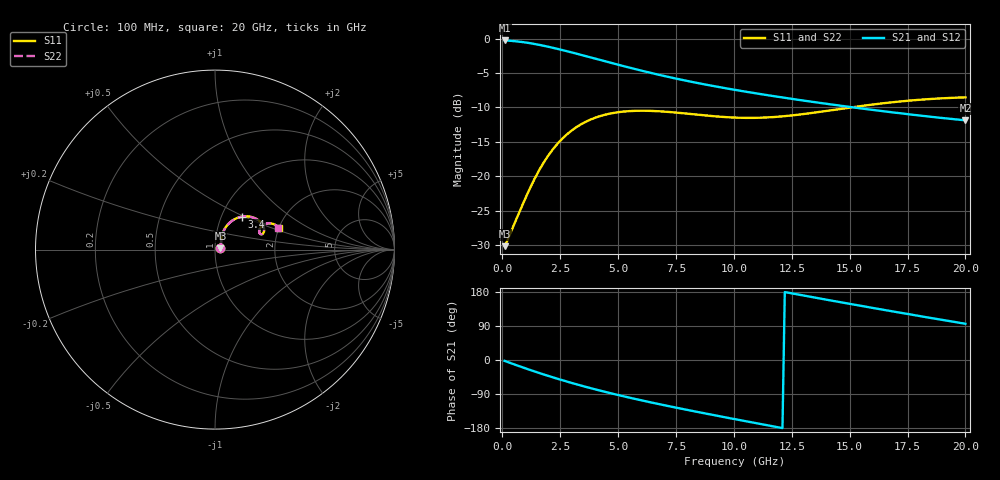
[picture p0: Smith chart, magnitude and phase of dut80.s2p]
! Touchstone file exported from HFSS 2024.1.0
!  File:  C:/UserFiles/LocalFiles/RDL_TSV_Batchsim/temp_RDL_TSV_80_1779414268.aedt
!  Generated:  10:05:32 AM May 22, 2026
!  Design:  RDL_TSV
!  Project:  temp_RDL_TSV_80_1779414268
!  Setup:  Setup1
!  Solution:  Sweep
! Variables:
!  dtsv = 11.4um
!  hbump = 3um
!  htsv = 61.2um
!  ldown = 422.73um
!  lrdl = 695.93um
!  p = 40
!  p1 = 51.81um
!  rhole = 10um
!  subl = 4051.91um
!  t = 450um
!  tdown = 2.19um
!  trdl = 3.35um
!  viad = 10um
!  wdown = 11.17um
!  wrdl = 23.4um
!  xbump = 18um
# GHz S MA R 50.000000
! Terminal data exported
! Port[1] = TM1_1_T1
! Port[2] = TM1_4_T1
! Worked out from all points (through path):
!   200 points, 100 MHz to 20 GHz, reference 50 ohm
!   highest |S21| = -0.27 dB at 100 MHz (marker M1); lowest = -11.9 dB at 20 GHz (marker M2)
!   group delay of S21, straight-line fit = 34.7 ps
!   lowest |S11| = -30.2 dB at 100 MHz (marker M3), VSWR 1.06, Z = 53.1 + j0.696 ohm
!   |S11| at or under -10 dB: start of sweep to 15.05 GHz
!   |S22| runs from -30.2 to -8.5 dB; largest |S21 - S12| = 2.3e-14
!   S11 on the Smith chart (normalised r, x): 100 MHz: 1.06, +0.01; 3.4 GHz: 1.25, +0.49; 20 GHz: 1.99, +0.56
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0.1  0.03107 12.2  0.9693 -2.3  0.9693 -2.3  0.03107 12.2
! Gamma 0 0 0 0
! Port Impedance 50 0 50 0
0.4  0.04048 36.4  0.9625 -9.1  0.9625 -9.1  0.04049 36.3
0.8  0.05809 53.8  0.9473 -17.8  0.9473 -17.8  0.05808 53.7
1.3  0.08909 63.7  0.92 -28.3  0.92 -28.3  0.08901 63.6
1.7  0.119 65.3  0.8933 -36.4  0.8933 -36.4  0.1188 65.1
2.1  0.1504 63.6  0.8639 -44.2  0.8639 -44.2  0.1501 63.5
2.5  0.1809 60.2  0.833 -51.7  0.833 -51.7  0.1805 60.1
2.9  0.2088 56.1  0.8015 -58.9  0.8015 -58.9  0.2083 56.0
3.4  0.2385 50.5  0.7621 -67.5  0.7621 -67.5  0.2378 50.4
3.5  0.2437 49.4  0.7543 -69.1  0.7543 -69.1  0.243 49.3
4.2  0.2728 41.8  0.7016 -80.4  0.7016 -80.4  0.2719 41.7
5.1  0.2934 33.4  0.6397 -93.8  0.6397 -93.8  0.2923 33.3
5.9  0.2992 27.4  0.5912 -105.0  0.5912 -105.0  0.2981 27.3
6.8  0.2964 22.5  0.5441 -116.9  0.5441 -116.9  0.2952 22.4
8.4  0.2804 18.4  0.4768 -136.7  0.4768 -136.7  0.2791 18.3
10.1  0.2666 19.5  0.4227 -156.8  0.4227 -156.8  0.2654 19.6
11.7  0.2691 23.3  0.3824 -175.1  0.3824 -175.1  0.2681 23.4
13.4  0.2887 26.4  0.3471 165.8  0.3471 165.8  0.2881 26.5
15  0.3153 26.9  0.3189 148.2  0.3189 148.2  0.3148 27.0
16.7  0.3427 25.2  0.2933 129.9  0.2933 129.9  0.3424 25.3
18.3  0.3624 22.4  0.2729 113.1  0.2729 113.1  0.3621 22.4
20  0.3744 19.0  0.2548 95.6  0.2548 95.6  0.3741 19.0
